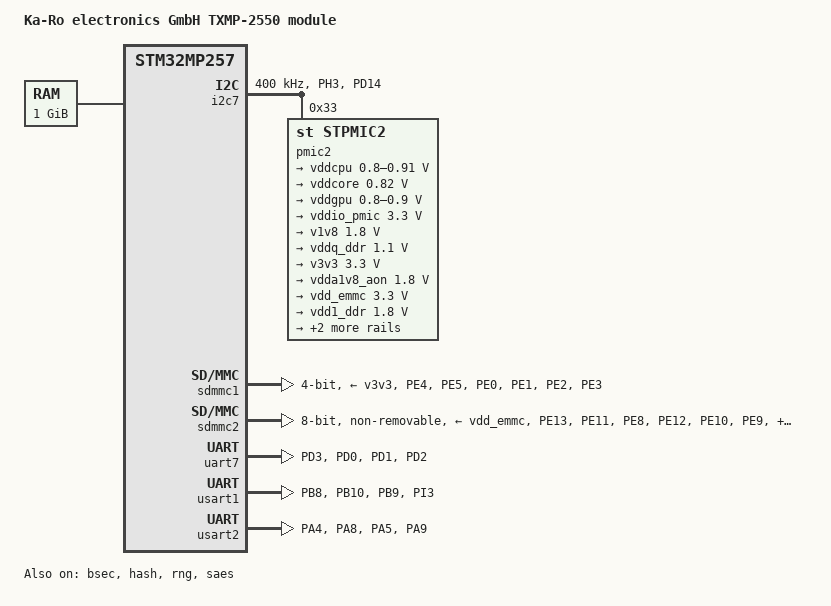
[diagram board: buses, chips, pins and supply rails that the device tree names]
// SPDX-License-Identifier: (GPL-2.0-or-later OR BSD-3-Clause)
/*
 * Copyright (C) 2024, STMicroelectronics - All Rights Reserved
 * Author: STM32CubeMX code generation for STMicroelectronics.
 */

/* For more information on Device Tree configuration, please refer to
 * https://wiki.st.com/stm32mpu/wiki/Category:Device_tree_configuration
 */

/dts-v1/;

#include "stm32mp257.dtsi"
#include "stm32mp25xf.dtsi"
#include "stm32mp257f-txmp-2550-rcc.dtsi"
#include "stm32mp257f-txmp-ddr.h"
#include "stm32mp25-ddr.dtsi"
#include "stm32mp25xxai-pinctrl.dtsi"
#include <dt-bindings/pinctrl/stm32-pinfunc.h>

/ {
	model = "Ka-Ro electronics GmbH TXMP-2550 module";
	compatible = "st,stm32mp257f-txmp-2550", "st,stm32mp257";

	aliases {
		serial0 = &usart2;
		serial1 = &usart1;
		serial2 = &uart7;
	};

	chosen {
		stdout-path = "serial0:115200n8";
	};

	memory@80000000 {
		device_type = "memory";
		reg = <0x00000000 0x80000000 0x00000000 0x40000000>;
	};
};

&bsec {
	status = "okay";
};

&ddr {
	vdd1-supply = <&vdd1_ddr>;
	vdd2-supply = <&vddq_ddr>;
	vddq-supply = <&vddq_ddr>;
};

&hash {
	status = "okay";
};

&i2c7 {
	pinctrl-names = "default";
	pinctrl-0 = <&i2c7_pins>;
	i2c-scl-rising-time-ns = <185>;
	i2c-scl-falling-time-ns = <20>;
	clock-frequency = <400000>;
	status = "okay";

	pmic2: stpmic@33 {
		compatible = "st,stpmic2";
		reg = <0x33>;
		status = "okay";

		regulators {
			compatible = "st,stpmic2-regulators";

			vddcpu: buck1 {
				regulator-name = "vddcpu";
				regulator-min-microvolt = <800000>;
				regulator-max-microvolt = <910000>;
				regulator-always-on;
			};

			vddcore: buck2 {
				regulator-name = "vddcore";
				regulator-min-microvolt = <820000>;
				regulator-max-microvolt = <820000>;
				regulator-always-on;
			};

			vddgpu: buck3 {
				regulator-name = "vddgpu";
				regulator-min-microvolt = <800000>;
				regulator-max-microvolt = <900000>;
			};

			vddio_pmic: buck4 {
				regulator-name = "vddio";
				regulator-min-microvolt = <3300000>;
				regulator-max-microvolt = <3300000>;
				regulator-always-on;
			};

			v1v8: buck5 {
				regulator-name = "v1v8";
				regulator-min-microvolt = <1800000>;
				regulator-max-microvolt = <1800000>;
				regulator-always-on;
			};

			vddq_ddr: buck6 {
				regulator-name = "vddq_ddr";
				regulator-min-microvolt = <1100000>;
				regulator-max-microvolt = <1100000>;
			};

			v3v3: buck7 {
				regulator-name = "v3v3";
				regulator-min-microvolt = <3300000>;
				regulator-max-microvolt = <3300000>;
				regulator-always-on;
			};

			vdda1v8_aon: ldo1 {
				regulator-name = "vdda1v8_aon";
				regulator-min-microvolt = <1800000>;
				regulator-max-microvolt = <1800000>;
				regulator-always-on;
			};

			vdd_emmc: ldo2 {
				regulator-name = "vdd_emmc";
				regulator-min-microvolt = <3300000>;
				regulator-max-microvolt = <3300000>;
				regulator-always-on;
			};

			vdd1_ddr: ldo3 {
				regulator-name = "vdd1ddr";
				regulator-min-microvolt = <1800000>;
				regulator-max-microvolt = <1800000>;
				regulator-enable-ramp-delay = <1000>;
			};

			vdd3v3_usb: ldo4 {
				regulator-name = "vdd3v3_usb";
				regulator-min-microvolt = <3300000>;
				regulator-max-microvolt = <3300000>;
				regulator-always-on;
			};

			vddio_sdcard: ldo8 {
				regulator-name = "vddio_sdcard";
				regulator-min-microvolt = <3300000>;
				regulator-max-microvolt = <3300000>;
				regulator-always-on;
			};
		};
	};
};

&pwr {
	pinctrl-names = "default";
	pinctrl-0 = <&wakeup_pins>;
};

&rcc {
	status = "okay";
};

&rng {
	status = "okay";
};

&saes {
	status = "okay";
};

&sdmmc1 {
	pinctrl-names = "default";
	pinctrl-0 = <&sdmmc1_pins>;
	vmmc-supply = <&v3v3>;
	vqmmc-supply = <&vddio1>;
	st,neg-edge;
	bus-width = <4>;
	status = "okay";
};

&sdmmc2 {
	pinctrl-names = "default";
	pinctrl-0 = <&sdmmc2_pins>;
	vmmc-supply = <&vdd_emmc>;
	vqmmc-supply = <&vddio2>;
	non-removable;
	no-sd;
	no-sdio;
	st,neg-edge;
	bus-width = <8>;
	status = "okay";
};

&uart7 {
	pinctrl-names = "default";
	pinctrl-0 = <&uart7_pins &uart7_rtscts_pins>;
	status = "okay";
};

&usart1 {
	pinctrl-names = "default";
	pinctrl-0 = <&usart1_pins &usart1_rtscts_pins>;
	status = "okay";
};

&usart2 {
	pinctrl-names = "default";
	pinctrl-0 = <&usart2_pins &usart2_rtscts_pins>;
	status = "okay";
};

&vddio1 {
	vddio1-supply = <&vddio_sdcard>;
};

&vddio2 {
	vddio2-supply = <&v1v8>;
};

&vddio3 {
	vddio3-supply = <&vddio_pmic>;
};

&vddio4 {
	vddio4-supply = <&vddio_pmic>;
};

&vddio {
	vdd-supply = <&vddio_pmic>;
};

&pinctrl {
	i2c7_pins: i2c7-pins {
		pins1 {
			pinmux = <STM32_PINMUX('H', 3, AF10)>, /* I2C7_SCL */
				 <STM32_PINMUX('D', 14, AF10)>; /* I2C7_SDA */
			bias-disable;
			drive-open-drain;
			slew-rate = <0>;
		};
	};

	sdmmc1_pins: sdmmc1-pins {
		pins1 {
			pinmux = <
				  STM32_PINMUX('E', 4, AF10) /* SDMMC1_D0 */
				  STM32_PINMUX('E', 5, AF10) /* SDMMC1_D1 */
				  STM32_PINMUX('E', 0, AF10) /* SDMMC1_D2 */
				  STM32_PINMUX('E', 1, AF10) /* SDMMC1_D3 */
				  STM32_PINMUX('E', 2, AF10) /* SDMMC1_CMD */
			>;
			bias-disable;
			drive-push-pull;
			slew-rate = <2>;
		};

		pins2 {
			pinmux = <STM32_PINMUX('E', 3, AF10)>; /* SDMMC1_CK */
			bias-disable;
			drive-push-pull;
			slew-rate = <3>;
		};
	};

	sdmmc2_pins: sdmmc2-pins {
		pins1 {
			pinmux = <
				  STM32_PINMUX('E', 13, AF12)	/* SDMMC2_D0 */
				  STM32_PINMUX('E', 11, AF12)	/* SDMMC2_D1 */
				  STM32_PINMUX('E', 8, AF12)	/* SDMMC2_D2 */
				  STM32_PINMUX('E', 12, AF12)	/* SDMMC2_D3 */
				  STM32_PINMUX('E', 10, AF12)	/* SDMMC2_D4 */
				  STM32_PINMUX('E', 9, AF12)	/* SDMMC2_D5 */
				  STM32_PINMUX('E', 6, AF12)	/* SDMMC2_D6 */
				  STM32_PINMUX('E', 7, AF12)	/* SDMMC2_D7 */
				  STM32_PINMUX('E', 15, AF12)	/* SDMMC2_CMD */
			>;
			bias-disable;
			drive-push-pull;
			slew-rate = <1>;
		};

		pins2 {
			pinmux = <STM32_PINMUX('E', 14, AF12)>; /* SDMMC2_CK */
			bias-disable;
			drive-push-pull;
			slew-rate = <3>;
		};
	};

	uart7_pins: uart7-pins {
		pins1 {
			pinmux = <STM32_PINMUX('D', 3, AF6)>; /* UART7_TX */
			bias-disable;
			drive-push-pull;
			slew-rate = <0>;
		};

		pins2 {
			pinmux = <STM32_PINMUX('D', 0, AF6)>; /* UART7_RX */
			bias-pull-up;
		};
	};

	uart7_rtscts_pins: uart7-rtscts-pins {
		pins1 {
			pinmux = <STM32_PINMUX('D', 1, AF6)>; /* UART7_RTS */
			bias-disable;
			drive-push-pull;
			slew-rate = <0>;
		};

		pins2 {
			pinmux = <STM32_PINMUX('D', 2, AF6)>; /* UART7_CTS_NSS */
			bias-pull-up;
		};
	};

	usart1_pins: usart1-pins {
		pins1 {
			pinmux = <STM32_PINMUX('B', 8, AF6)>; /* USART1_TX */
			bias-disable;
			drive-push-pull;
			slew-rate = <0>;
		};

		pins2 {
			pinmux = <STM32_PINMUX('B', 10, AF6)>; /* USART1_RX */
			bias-pull-up;
		};
	};

	usart1_rtscts_pins: usart1-rtscts-pins {
		pins1 {
			pinmux = <STM32_PINMUX('B', 9, AF6)>; /* USART1_RTS */
			bias-disable;
			drive-push-pull;
			slew-rate = <0>;
		};

		pins2 {
			pinmux = <STM32_PINMUX('I', 3, AF6)>; /* USART1_CTS_NSS */
			bias-pull-up;
		};
	};

	usart2_pins: usart2-pins {
		pins1 {
			pinmux = <STM32_PINMUX('A', 4, AF6)>; /* USART2_TX */
			bias-disable;
			drive-push-pull;
			slew-rate = <0>;
		};

		pins2 {
			pinmux = <STM32_PINMUX('A', 8, AF8)>; /* USART2_RX */
			bias-pull-up;
		};
	};

	usart2_rtscts_pins: usart2-rtscts-pins {
		pins1 {
			pinmux = <STM32_PINMUX('A', 5, AF6)>; /* USART2_RTS */
			bias-disable;
			drive-push-pull;
			slew-rate = <0>;
		};

		pins2 {
			pinmux = <STM32_PINMUX('A', 9, AF6)>; /* USART2_CTS_NSS */
			bias-pull-up;
		};
	};

	wakeup_pins: wakeup-pins {
		pins {
			pinmux = <
				  STM32_PINMUX('A', 0, ANALOG) /* PWR_WKUP1 */
			>;
		};
	};
};
